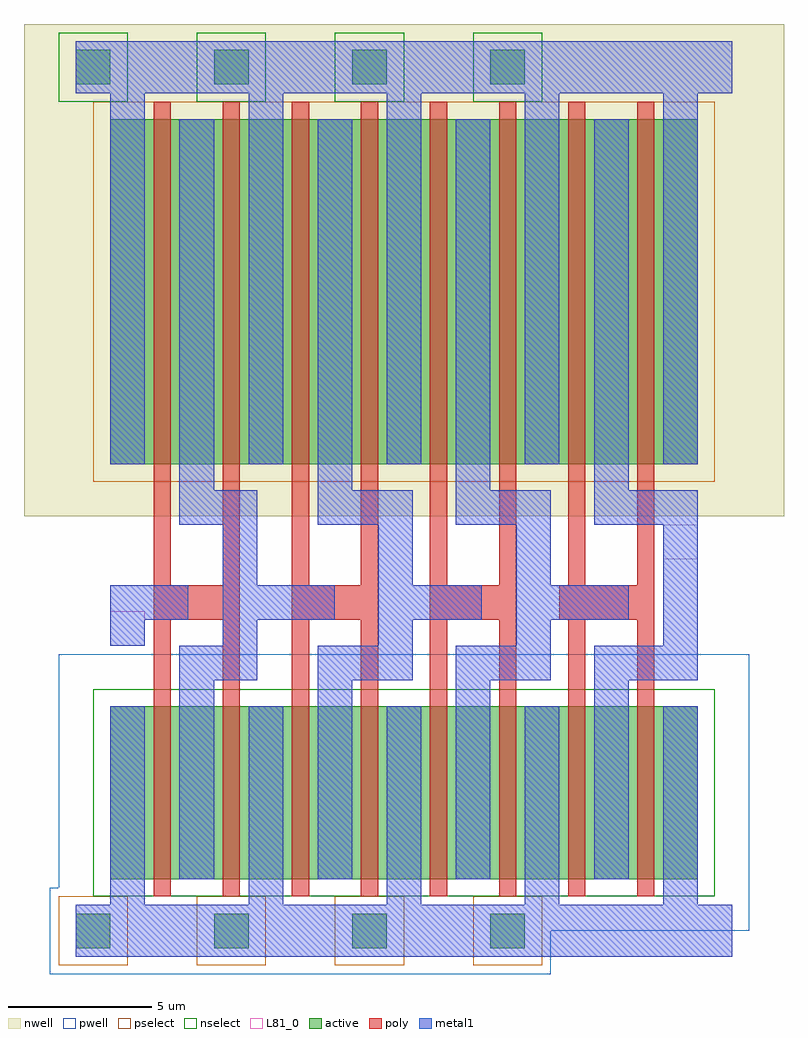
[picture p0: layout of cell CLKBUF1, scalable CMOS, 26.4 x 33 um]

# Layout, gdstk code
import gdstk
lib = gdstk.Library(unit=1e-6, precision=1e-09)
def R(c, l, rs):  # rectangles x0, y0, x1, y1
    for r in rs: c.add(gdstk.rectangle(r[:2], r[2:], *l))
def A(c, l, x, y, w, h, nx, ny, dx, dy):  # array of equal rectangles
    R(c, l, [(x+i*dx, y+j*dy, x+i*dx+w, y+j*dy+h) for i in range(nx) for j in range(ny)])
pwell = (41, 0)
nwell = (42, 0)
active = (43, 0)
pselect = (44, 0)
nselect = (45, 0)
poly = (46, 0)
metal1 = (49, 0)
L81_0 = (81, 0)

clkbuf1 = lib.new_cell('CLKBUF1')
R(clkbuf1, pwell, [(-1.5,-1.5,15.9,0), (-1.5,0,22.8,1.5), (-1.2,1.5,22.8,9.6)])
R(clkbuf1, nwell, [(-2.4,14.4,24,31.5)])
A(clkbuf1, active, -0.6, -0.6, 1.2, 1.2, 4, 2, 4.8, 30)
R(clkbuf1, active, [(0.6,1.8,21,7.8), (0.6,16.2,21,28.2)])
A(clkbuf1, pselect, -1.2, -1.2, 2.4, 2.4, 4, 1, 4.8, 0)
R(clkbuf1, pselect, [(0,15.6,21.6,28.8)])
A(clkbuf1, nselect, -1.2, 28.8, 2.4, 2.4, 4, 1, 4.8, 0)
R(clkbuf1, nselect, [(0,1.2,21.6,8.4)])
A(clkbuf1, poly, 2.1, 1.2, 0.6, 9.6, 8, 1, 2.4, 0)
A(clkbuf1, poly, 2.1, 10.8, 3, 1.2, 3, 1, 4.8, 0)
A(clkbuf1, poly, 2.1, 12, 0.6, 16.8, 8, 1, 2.4, 0)
R(clkbuf1, poly, [(16.2,10.8,19.5,12)])
A(clkbuf1, metal1, 0.6, 0.9, 1.2, 6.9, 5, 1, 4.8, 0)
A(clkbuf1, metal1, 3, 1.8, 1.2, 6.9, 4, 1, 4.8, 0)
A(clkbuf1, metal1, 3, 15.3, 1.2, 12.9, 4, 1, 4.8, 0)
A(clkbuf1, metal1, 0.6, 16.2, 1.2, 12.9, 5, 1, 4.8, 0)
R(clkbuf1, metal1, [(-0.6,-0.9,22.2,0.9), (3,8.7,5.7,9.9), (7.8,8.7,11.1,9.9), (12.6,8.7,15.9,9.9), (17.4,8.7,21,9.9), (0.6,9.9,1.8,10.8), (4.5,9.9,5.7,10.8), (9.9,9.9,11.1,10.8), (14.7,9.9,15.9,10.8), (19.8,9.9,21,14.1), (0.6,10.8,3.3,12), (4.5,10.8,8.4,12), (9.9,10.8,13.5,12), (14.7,10.8,18.6,12), (4.5,12,5.7,14.1), (9.9,12,11.1,14.1), (14.7,12,15.9,14.1), (3,14.1,5.7,15.3), (7.8,14.1,11.1,15.3), (12.6,14.1,15.9,15.3), (17.4,14.1,21,15.3), (-0.6,29.1,22.2,30.9)])
R(clkbuf1, L81_0, [(0.6,9.9,1.8,11.1), (19.8,12.9,21,14.1)])

lib.write_gds('CLKBUF1.gds')
